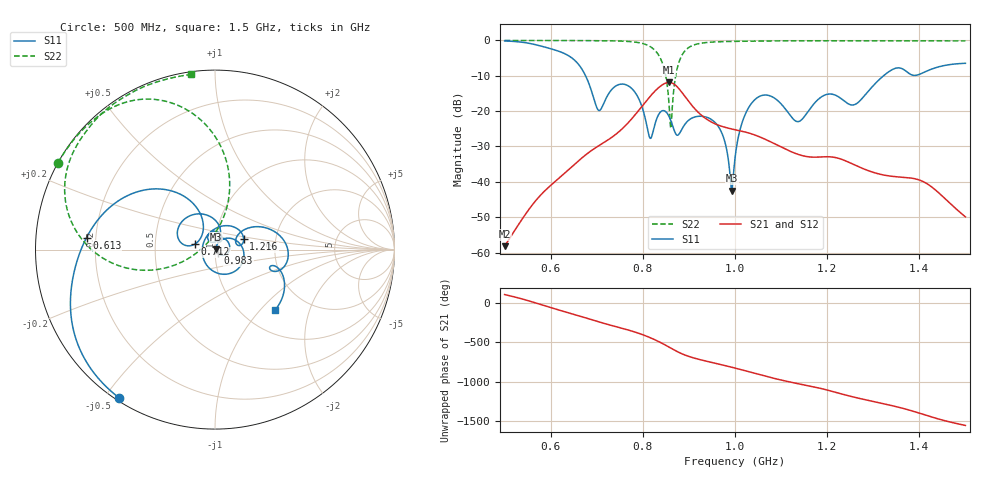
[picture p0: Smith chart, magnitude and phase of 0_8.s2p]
! TOUCHSTONE file generated by CST MICROWAVE STUDIO
! Date and time: Mon Sep 28 14:06:56 2020
! Project name: Scenario_1_Free_SPace.cst
! Parameters = {dx1=294.5; L_HA=400; MT=2.54; Rad_Dielectric=30; Rad_Lower=7.3; Rad_Upper=30; a_HA=580; a_WG=246; b_HA=500; b_WG=121; c_HA=0; c_WG=187; d_feed=85; h_feed=15; h_lower=18; h_upper=40}
! Header version: 2018
! Port assignment regex: !\s*Touchstone port\s*([0-9]+)\s*=\s*(CST MWS port|CST DS port)\s*([0-9]+|Zmin|Zmax)\s*\(\"(.*)\"\)(\s*mode\s*([0-9]+))?.*
! Touchstone port assignment:
! Touchstone port 1 = CST MWS port 1 ("")
! Touchstone port 2 = CST MWS port 2 ("")
# GHz S DB R 50
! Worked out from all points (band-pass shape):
!   1003 points, 500 MHz to 1.5 GHz, reference 50 ohm
!   highest |S21| = -11.88 dB at 857 MHz (marker M1); lowest = -58.2 dB at 500 MHz (marker M2)
!   |S21| within 3 dB of the highest: 822.2 MHz to 885.8 MHz (63.54 MHz wide, 7.44 % of centre)
!   lowest |S11| = -42.5 dB at 993 MHz (marker M3), VSWR 1.02, Z = 50.7 + j0.112 ohm
!   |S11| at or under -10 dB: 675.7 MHz to 1.322 GHz (646.5 MHz wide, 64.7 % of centre)
!   |S22| runs from -24.9 to 0.0 dB; largest |S21 - S12| = 5e-05
!   S11 on the Smith chart (normalised r, x): 500 MHz: 0.01, -0.55; 613 MHz: 0.16, +0.05; 712 MHz: 0.80, +0.05; 983 MHz: 1.03, -0.04; 1.216 GHz: 1.37, +0.16; 1.5 GHz: 1.39, -1.21
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0.5  -0.14 -122.7  -58.20 107.9  -58.20 107.9  -0.01 151.1
0.613  -2.87 174.7  -39.53 -80.7  -39.53 -80.7  -0.02 143.1
0.667  -7.96 125.8  -33.33 -172.7  -33.33 -172.7  -0.04 138.3
0.712  -18.71 164.6  -29.16 107.8  -29.16 107.8  -0.08 133.3
0.759  -12.39 134.6  -24.52 32.8  -24.52 32.8  -0.22 125.3
0.816  -27.70 97.0  -15.79 -79.8  -15.79 -79.8  -1.75 103.3
0.834  -21.02 115.6  -13.38 -128.0  -13.38 -128.0  -4.09 89.6
0.857  -21.54 64.0  -11.88 160.5  -11.88 160.5  -18.21 81.1
0.875  -26.83 66.3  -13.17 102.7  -13.17 102.7  -7.66 -163.8
0.9  -22.51 59.1  -17.35 41.9  -17.35 41.9  -1.97 170.8
0.954  -22.88 -17.5  -23.42 -40.1  -23.42 -40.1  -0.44 148.0
0.983  -31.62 -49.9  -24.74 -80.2  -24.74 -80.2  -0.30 142.5
0.993  -42.54 8.5  -25.06 -94.7  -25.06 -94.7  -0.28 141.0
1  -33.35 66.2  -25.27 -105.2  -25.27 -105.2  -0.26 140.0
1.018  -22.27 51.1  -25.77 -133.0  -25.77 -133.0  -0.23 137.8
1.048  -16.22 2.3  -26.99 179.6  -26.99 179.6  -0.18 134.6
1.135  -22.96 178.0  -32.14 58.3  -32.14 58.3  -0.10 126.7
1.167  -18.60 88.8  -33.00 20.8  -33.00 20.8  -0.09 124.1
1.216  -15.39 20.0  -33.08 -49.5  -33.08 -49.5  -0.09 120.4
1.261  -18.08 23.1  -35.29 -118.3  -35.29 -118.3  -0.08 117.0
1.334  -8.83 13.8  -38.33 146.7  -38.33 146.7  -0.09 111.4
1.5  -6.47 -45.4  -49.90 -113.8  -49.81 -113.8  -0.13 97.8
